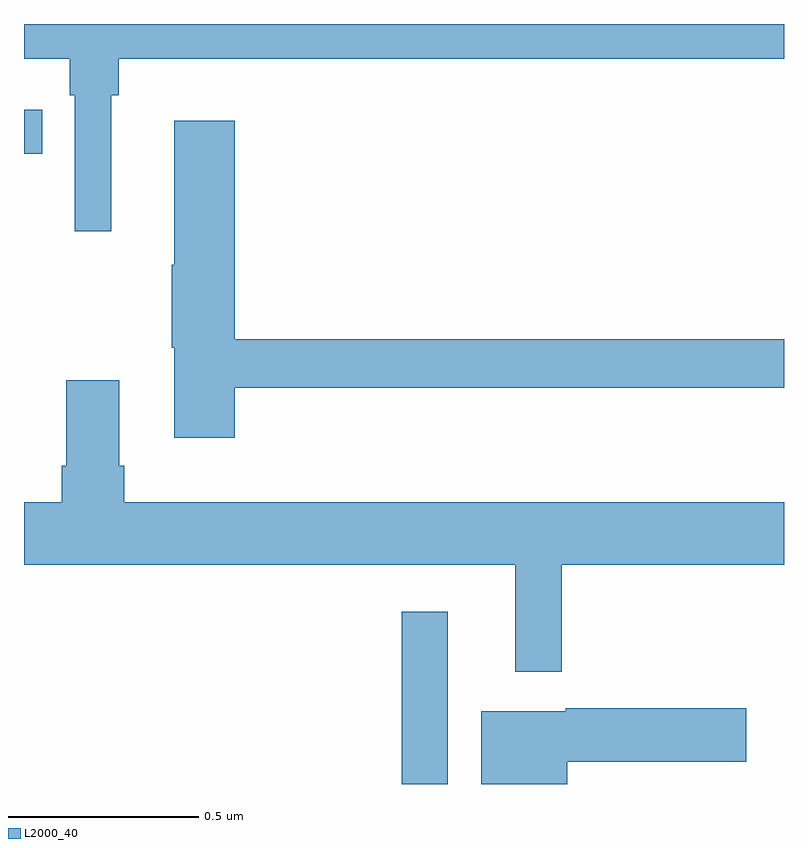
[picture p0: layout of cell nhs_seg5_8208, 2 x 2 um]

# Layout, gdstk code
import gdstk
lib = gdstk.Library(unit=1e-6, precision=1e-09)
def R(c, l, rs):  # rectangles x0, y0, x1, y1
    for r in rs: c.add(gdstk.rectangle(r[:2], r[2:], *l))
def P(c, l, *ps):  # polygons
    for p in ps: c.add(gdstk.Polygon(p, *l))
L2000_40 = (2000, 40)

nhs_seg5_8208 = lib.new_cell('nhs_seg5_8208')
R(nhs_seg5_8208, L2000_40, [(218.994,906.799,219.115,907.252), (218,908.458,218.048,908.574)])
P(nhs_seg5_8208, L2000_40, [(218.23,908.612),(218.249,908.612),(218.249,908.708),(220,908.708),(220,908.799),(218,908.799),(218,908.708),(218.12,908.708),(218.12,908.612),(218.133,908.612),(218.133,908.253),(218.23,908.253)],
  [(218.555,907.842),(220,907.842),(220,907.97),(218.555,907.97),(218.555,908.545),(218.396,908.545),(218.396,908.165),(218.389,908.165),(218.389,907.947),(218.396,907.947),(218.396,907.71),(218.555,907.71)],
  [(219.415,907.376),(220,907.376),(220,907.54),(218.264,907.54),(218.264,907.636),(218.251,907.636),(218.251,907.861),(218.111,907.861),(218.111,907.636),(218.099,907.636),(218.099,907.54),(218,907.54),(218,907.376),(219.293,907.376),(219.293,907.095),(219.415,907.095)],
  [(219.43,906.857),(219.901,906.857),(219.901,906.999),(219.426,906.999),(219.426,906.991),(219.203,906.991),(219.203,906.799),(219.43,906.799)])

lib.write_gds('nhs_seg5_8208.gds')
